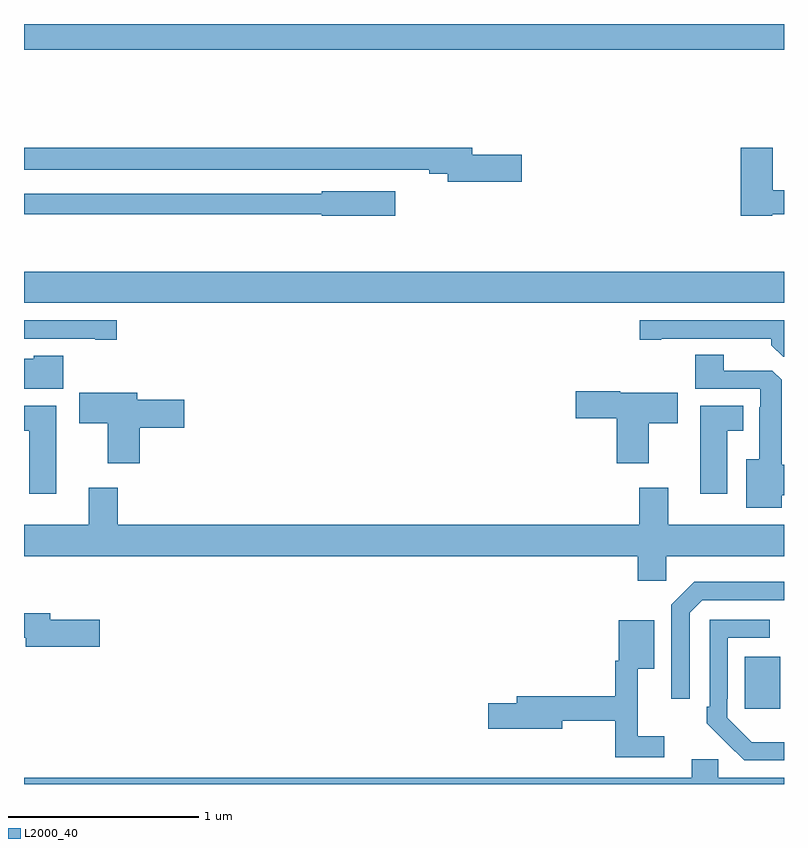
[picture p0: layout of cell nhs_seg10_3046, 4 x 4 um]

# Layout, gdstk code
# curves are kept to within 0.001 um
import gdstk
lib = gdstk.Library(unit=1e-6, precision=1e-09)
def R(c, l, rs):  # rectangles x0, y0, x1, y1
    for r in rs: c.add(gdstk.rectangle(r[:2], r[2:], *l))
def P(c, l, *ps):  # polygons
    for p in ps: c.add(gdstk.Polygon(p, *l))
L2000_40 = (2000, 40)

nhs_seg10_3046 = lib.new_cell('nhs_seg10_3046')
R(nhs_seg10_3046, L2000_40, [(280.793,1248.897,280.981,1249.171), (277,1251.032,281,1251.196), (277,1252.364,281,1252.5)])
P(nhs_seg10_3046, L2000_40, [(280.938,1251.498),(281,1251.498),(281,1251.626),(280.942,1251.626),(280.942,1251.85),(280.772,1251.85),(280.772,1251.49),(280.938,1251.49)],
  [(279.619,1251.812),(279.358,1251.812),(279.358,1251.848),(277,1251.848),(277,1251.732),(279.134,1251.732),(279.134,1251.712),(279.23,1251.712),(279.23,1251.67),(279.619,1251.67)],
  [(278.953,1251.619),(278.568,1251.619),(278.568,1251.606),(277,1251.606),(277,1251.498),(278.568,1251.498),(278.568,1251.49),(278.953,1251.49)],
  [(281,1250.94),(280.242,1250.94),(280.242,1250.839),(280.354,1250.839),(280.354,1250.844),(280.934,1250.844),(280.934,1250.81),(280.995,1250.748),(281,1250.748)],
  [(277.489,1250.94),(277,1250.94),(277,1250.844),(277.376,1250.844),(277.376,1250.839),(277.489,1250.839)],
  [(280.987,1250.021),(281,1250.021),(281,1250.179),(280.987,1250.179),(280.987,1250.627),(280.938,1250.676),(280.684,1250.676),(280.684,1250.759),(280.532,1250.759),(280.532,1250.58),(280.875,1250.58),(280.875,1250.483),(280.871,1250.483),(280.871,1250.209),(280.802,1250.209),(280.802,1249.955),(280.987,1249.955)],
  [(277.207,1250.755),(277.05,1250.755),(277.05,1250.737),(277,1250.737),(277,1250.579),(277.207,1250.579)],
  [(280.288,1250.398),(280.441,1250.398),(280.441,1250.56),(280.137,1250.56),(280.137,1250.568),(279.903,1250.568),(279.903,1250.426),(280.121,1250.426),(280.121,1250.187),(280.288,1250.187)],
  [(277.61,1250.375),(277.843,1250.375),(277.843,1250.522),(277.597,1250.522),(277.597,1250.56),(277.29,1250.56),(277.29,1250.398),(277.442,1250.398),(277.442,1250.187),(277.61,1250.187)],
  [(280.702,1250.36),(280.786,1250.36),(280.786,1250.491),(280.559,1250.491),(280.559,1250.028),(280.702,1250.028)],
  [(277.171,1250.491),(277,1250.491),(277,1250.36),(277.028,1250.36),(277.028,1250.028),(277.171,1250.028)],
  [(280.38,1249.7),(281,1249.7),(281,1249.864),(280.39,1249.864),(280.39,1250.059),(280.238,1250.059),(280.238,1249.864),(277.493,1249.864),(277.493,1250.059),(277.34,1250.059),(277.34,1249.864),(277,1249.864),(277,1249.7),(280.229,1249.7),(280.229,1249.569),(280.38,1249.569)],
  [(280.503,1249.401),(280.569,1249.467),(281,1249.467),(281,1249.564),(280.528,1249.564),(280.407,1249.443),(280.407,1248.948),(280.503,1248.948)],
  [(277.399,1249.365),(277.138,1249.365),(277.138,1249.399),(277,1249.399),(277,1249.27),(277.01,1249.27),(277.01,1249.223),(277.399,1249.223)],
  [(281,1248.72),(280.83,1248.721),(280.701,1248.849),(280.701,1248.949),(280.704,1248.949),(280.704,1249.269),(280.924,1249.269),(280.924,1249.365),(280.608,1249.365),(280.608,1248.907),(280.593,1248.907),(280.593,1248.819),(280.79,1248.624),(281,1248.624)],
  [(280.369,1248.751),(280.229,1248.751),(280.229,1249.106),(280.318,1249.106),(280.318,1249.363),(280.13,1249.363),(280.13,1249.149),(280.111,1249.149),(280.111,1248.962),(279.593,1248.962),(279.593,1248.926),(279.444,1248.926),(279.444,1248.791),(279.832,1248.791),(279.832,1248.834),(280.111,1248.834),(280.111,1248.642),(280.369,1248.642)],
  [(281,1248.532),(280.653,1248.532),(280.653,1248.63),(280.514,1248.63),(280.514,1248.532),(277,1248.532),(277,1248.5),(281,1248.5)])

lib.write_gds('nhs_seg10_3046.gds')
